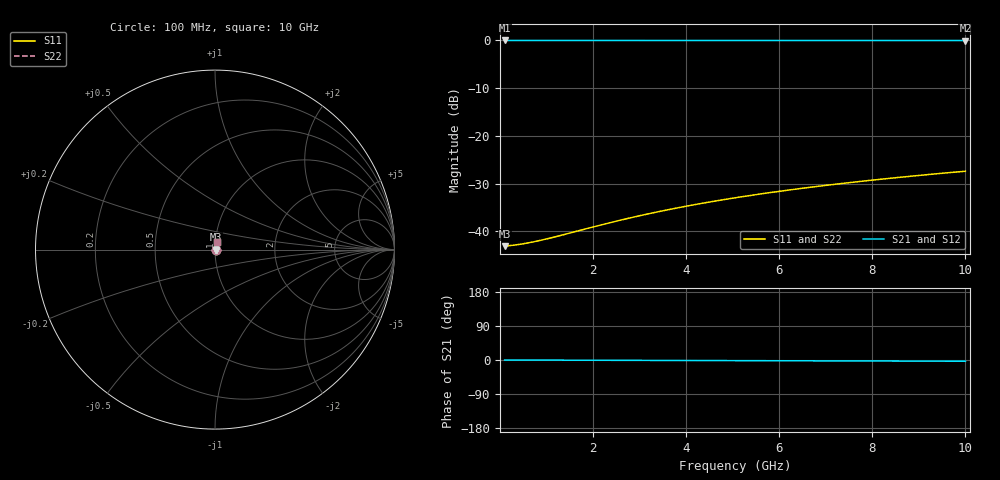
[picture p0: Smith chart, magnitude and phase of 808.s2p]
# Hz S RI R 50.00
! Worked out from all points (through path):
!   100 points, 100 MHz to 10 GHz, reference 50 ohm
!   highest |S21| = -0.06 dB at 100 MHz (marker M1); lowest = -0.1 dB at 10 GHz (marker M2)
!   lowest |S11| = -43.1 dB at 100 MHz (marker M3), VSWR 1.01, Z = 50.7 + j0.042 ohm
!   |S11| at or under -10 dB: start of sweep to end of sweep
!   |S22| runs from -43.1 to -27.4 dB; largest |S21 - S12| = 0
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1e8  0.00698 0.000415  0.993 -0.000567  0.993 -0.000567  0.00698 0.000415
4e8  0.00709 0.00166  0.9929 -0.00227  0.9929 -0.00227  0.00709 0.00166
6e8  0.00714 0.00249  0.9929 -0.0034  0.9929 -0.0034  0.00714 0.00249
8e8  0.00718 0.00332  0.9928 -0.00453  0.9928 -0.00453  0.00718 0.00332
1e9  0.00722 0.00414  0.9928 -0.00567  0.9928 -0.00567  0.00722 0.00414
1.2e9  0.00725 0.00497  0.9927 -0.0068  0.9927 -0.0068  0.00725 0.00497
1.8e9  0.00735 0.00746  0.9926 -0.0102  0.9926 -0.0102  0.00735 0.00746
2.2e9  0.00742 0.00911  0.9926 -0.0125  0.9926 -0.0125  0.00742 0.00911
2.6e9  0.00749 0.0108  0.9925 -0.0147  0.9925 -0.0147  0.00749 0.0108
3e9  0.00757 0.0124  0.9924 -0.017  0.9924 -0.017  0.00757 0.0124
3.4e9  0.00766 0.0141  0.9923 -0.0193  0.9923 -0.0193  0.00766 0.0141
3.8e9  0.00774 0.0157  0.9922 -0.0215  0.9922 -0.0215  0.00774 0.0157
4.2e9  0.00784 0.0174  0.9921 -0.0238  0.9921 -0.0238  0.00784 0.0174
4.6e9  0.00794 0.019  0.992 -0.0261  0.992 -0.0261  0.00794 0.019
5.1e9  0.00808 0.0211  0.9919 -0.0289  0.9919 -0.0289  0.00808 0.0211
5.5e9  0.00819 0.0228  0.9918 -0.0311  0.9918 -0.0311  0.00819 0.0228
5.9e9  0.00832 0.0244  0.9916 -0.0334  0.9916 -0.0334  0.00832 0.0244
6.7e9  0.00858 0.0277  0.9914 -0.0379  0.9914 -0.0379  0.00858 0.0277
7.5e9  0.00888 0.031  0.991 -0.0425  0.991 -0.0425  0.00888 0.031
8.4e9  0.00925 0.0347  0.9907 -0.0476  0.9907 -0.0476  0.00925 0.0347
9.2e9  0.00961 0.038  0.9903 -0.0521  0.9903 -0.0521  0.00961 0.038
1e10  0.01 0.0413  0.9899 -0.0566  0.9899 -0.0566  0.01 0.0413
